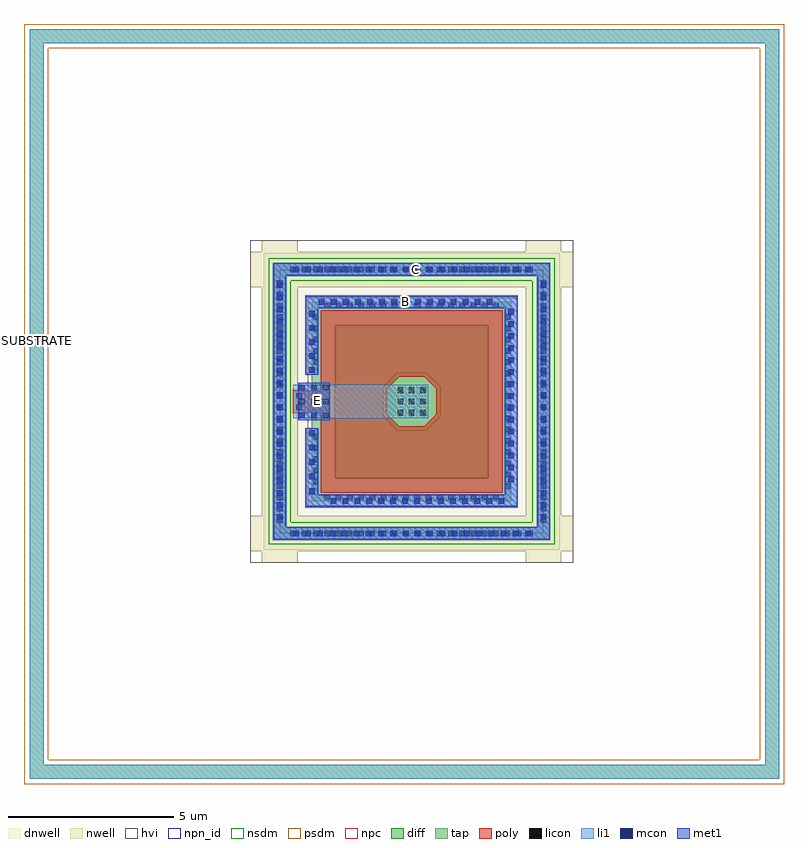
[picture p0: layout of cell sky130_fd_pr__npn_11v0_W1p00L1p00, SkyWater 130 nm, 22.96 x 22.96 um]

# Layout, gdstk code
import gdstk
lib = gdstk.Library(unit=1e-6, precision=1e-09)
def R(c, l, rs):  # rectangles x0, y0, x1, y1
    for r in rs: c.add(gdstk.rectangle(r[:2], r[2:], *l))
def A(c, l, x, y, w, h, nx, ny, dx, dy):  # array of equal rectangles
    R(c, l, [(x+i*dx, y+j*dy, x+i*dx+w, y+j*dy+h) for i in range(nx) for j in range(ny)])
def P(c, l, *ps):  # polygons
    for p in ps: c.add(gdstk.Polygon(p, *l))
dnwell = (64, 18)
nwell = (64, 20)
diff = (65, 20)
tap = (65, 44)
poly = (66, 20)
licon = (66, 44)
li1 = (67, 20)
mcon = (67, 44)
met1 = (68, 20)
hvi = (75, 20)
npn_id = (82, 20)
nsdm = (93, 44)
psdm = (94, 20)
npc = (95, 20)

sky130_fd_pr__npn_11v0_w = lib.new_cell('sky130_fd_pr__npn_11v0_W1p00L1p00')
R(sky130_fd_pr__npn_11v0_w, dnwell, [(0.4,0.4,9.35,9.35)])
R(sky130_fd_pr__npn_11v0_w, nwell, [(0.35,0,1.43,0.35), (8.32,0,9.4,0.35), (0,0.35,0.35,1.43), (9.4,0.35,9.75,1.43), (0,8.32,0.35,9.4), (9.4,8.32,9.75,9.4), (0.35,9.4,1.43,9.75), (8.32,9.4,9.4,9.75)])
R(sky130_fd_pr__npn_11v0_w, diff, [(2.56,2.56,7.19,7.185)])
R(sky130_fd_pr__npn_11v0_w, tap, [(1.86,1.86,7.19,2.56), (7.19,1.86,7.89,7.185), (1.86,2.56,2.56,7.185), (1.86,7.185,7.89,7.885)])
P(sky130_fd_pr__npn_11v0_w, tap, [(-6.666,-6.517),(-6.666,16.123),(15.554,16.123),(15.554,15.703),(-6.246,15.703),(-6.246,-6.097),(15.554,-6.097),(15.554,16.123),(15.974,16.123),(15.974,-6.517)])
R(sky130_fd_pr__npn_11v0_w, poly, [(1.475,4.535,2.125,5.205)])
P(sky130_fd_pr__npn_11v0_w, poly, [(2.125,2.125),(2.125,7.625),(5.625,7.625),(5.625,5.255),(5.255,5.625),(4.5,5.625),(4.125,5.25),(4.125,4.5),(4.5,4.125),(5.255,4.125),(5.625,4.495),(5.625,7.625),(7.625,7.625),(7.625,2.125)])
A(sky130_fd_pr__npn_11v0_w, licon, 1.215, 0.805, 0.17, 0.17, 20, 2, 0.34, 7.97)
A(sky130_fd_pr__npn_11v0_w, licon, 0.805, 1.215, 0.17, 0.17, 1, 20, 0, 0.34)
A(sky130_fd_pr__npn_11v0_w, licon, 8.775, 1.215, 0.17, 0.17, 1, 20, 0, 0.34)
A(sky130_fd_pr__npn_11v0_w, licon, 2.24, 1.9, 0.17, 0.17, 16, 2, 0.34, 5.78)
A(sky130_fd_pr__npn_11v0_w, licon, 7.68, 2.24, 0.17, 0.17, 1, 16, 0, 0.34)
A(sky130_fd_pr__npn_11v0_w, licon, 1.9, 2.365, 0.17, 0.17, 1, 5, 0, 0.34)
A(sky130_fd_pr__npn_11v0_w, licon, 4.45, 4.45, 0.17, 0.17, 3, 3, 0.34, 0.34)
A(sky130_fd_pr__npn_11v0_w, licon, 1.9, 5.98, 0.17, 0.17, 1, 5, 0, 0.34)
R(sky130_fd_pr__npn_11v0_w, licon, [(8.02,0.805,8.19,0.975), (8.365,0.805,8.535,0.975), (1.385,4.615,1.555,4.785), (1.385,4.955,1.555,5.125), (-6.535,6.665,-6.365,6.835), (0.805,8.02,0.975,8.19), (8.775,8.02,8.945,8.19), (0.805,8.365,0.975,8.535), (8.775,8.365,8.945,8.535), (8.02,8.775,8.19,8.945), (8.365,8.775,8.535,8.945)])
R(sky130_fd_pr__npn_11v0_w, li1, [(1.305,4.37,5.38,5.38), (4.37,4.37,5.38,5.38), (1.535,4.535,1.705,4.605), (1.535,5.135,1.705,5.205)])
P(sky130_fd_pr__npn_11v0_w, li1, [(-6.666,-6.517),(-6.666,16.123),(15.554,16.123),(15.554,15.703),(-6.246,15.703),(-6.246,-6.097),(15.554,-6.097),(15.554,16.123),(15.974,16.123),(15.974,-6.517)],
  [(1.66,1.67),(1.66,4.065),(2.07,4.065),(2.07,2.07),(7.68,2.07),(7.68,7.68),(2.06,7.68),(2.06,5.68),(1.66,5.68),(1.66,8.08),(8.08,8.08),(8.08,1.67)],
  [(0.74,0.74),(0.74,4.99),(1.04,4.99),(1.04,1.04),(8.71,1.04),(8.71,8.715),(1.04,8.715),(1.04,5.19),(0.74,5.19),(0.74,9.015),(9.01,9.015),(9.01,0.74)])
A(sky130_fd_pr__npn_11v0_w, mcon, 1.295, 0.805, 0.17, 0.17, 5, 2, 0.365, 7.97)
A(sky130_fd_pr__npn_11v0_w, mcon, 3.125, 0.805, 0.17, 0.17, 15, 2, 0.37, 7.97)
A(sky130_fd_pr__npn_11v0_w, mcon, 0.805, 1.295, 0.17, 0.17, 1, 4, 0, 0.365)
A(sky130_fd_pr__npn_11v0_w, mcon, 8.775, 1.295, 0.17, 0.17, 1, 4, 0, 0.365)
A(sky130_fd_pr__npn_11v0_w, mcon, 2.43, 1.785, 0.17, 0.17, 9, 1, 0.36, 0)
A(sky130_fd_pr__npn_11v0_w, mcon, 5.675, 1.785, 0.17, 0.17, 6, 1, 0.365, 0)
A(sky130_fd_pr__npn_11v0_w, mcon, 1.775, 2.08, 0.17, 0.17, 1, 4, 0, 0.44)
A(sky130_fd_pr__npn_11v0_w, mcon, 7.795, 2.44, 0.17, 0.17, 1, 11, 0, 0.36)
A(sky130_fd_pr__npn_11v0_w, mcon, 0.805, 2.76, 0.17, 0.17, 1, 16, 0, 0.37)
A(sky130_fd_pr__npn_11v0_w, mcon, 8.775, 2.76, 0.17, 0.17, 1, 16, 0, 0.37)
A(sky130_fd_pr__npn_11v0_w, mcon, 1.475, 4.37, 0.17, 0.17, 3, 3, 0.36, 0.42)
A(sky130_fd_pr__npn_11v0_w, mcon, 1.775, 5.74, 0.17, 0.17, 1, 5, 0, 0.425)
A(sky130_fd_pr__npn_11v0_w, mcon, 7.795, 6.405, 0.17, 0.17, 1, 4, 0, 0.365)
A(sky130_fd_pr__npn_11v0_w, mcon, 2.07, 7.795, 0.17, 0.17, 7, 1, 0.365, 0)
A(sky130_fd_pr__npn_11v0_w, mcon, 4.62, 7.795, 0.17, 0.17, 8, 1, 0.36, 0)
R(sky130_fd_pr__npn_11v0_w, mcon, [(1.775,3.835,1.945,4.005)])
R(sky130_fd_pr__npn_11v0_w, met1, [(0.71,5.05,1.07,5.13)])
R(sky130_fd_pr__npn_11v0_w, hvi, [(0,0,9.75,9.75)])
R(sky130_fd_pr__npn_11v0_w, npn_id, [(0.895,0.895,8.855,8.855)])
P(sky130_fd_pr__npn_11v0_w, nsdm, [(4.44,3.995),(3.995,4.44),(3.995,5.31),(4.44,5.755),(5.315,5.755),(5.755,5.315),(5.755,4.435),(5.315,3.995)])
P(sky130_fd_pr__npn_11v0_w, psdm, [(-6.836,-6.681),(-6.836,16.279),(15.384,16.279),(15.384,15.539),(-6.096,15.539),(-6.096,-5.941),(15.384,-5.941),(15.384,16.279),(16.124,16.279),(16.124,-6.681)],
  [(1.73,1.725),(1.73,8.015),(7.19,8.015),(7.19,7.185),(2.56,7.185),(2.56,2.56),(7.19,2.56),(7.19,8.015),(8.06,8.015),(8.06,1.725)])
sky130_fd_pr__npn_11v0_w.add(gdstk.FlexPath([(1.985,4.065),(1.985,1.985),(7.765,1.985),(7.765,7.765),(1.985,7.765),(1.985,5.68)], 0.17, ends="flush", simple_path=True, layer=65, datatype=44))  # tap
sky130_fd_pr__npn_11v0_w.add(gdstk.FlexPath([(0.89,1.84),(0.89,0.89),(8.86,0.89),(8.86,8.86),(0.89,8.86),(0.89,1.84)], 0.41, ends="flush", simple_path=True, layer=65, datatype=44))  # tap
sky130_fd_pr__npn_11v0_w.add(gdstk.FlexPath([(8.655,0.89),(1.095,0.89)], 0.17, ends="flush", simple_path=True, layer=65, datatype=44))  # tap
sky130_fd_pr__npn_11v0_w.add(gdstk.FlexPath([(8.655,8.86),(1.095,8.86)], 0.17, ends="flush", simple_path=True, layer=65, datatype=44))  # tap
sky130_fd_pr__npn_11v0_w.add(gdstk.FlexPath([(8.86,8.655),(8.86,1.095)], 0.17, ends="flush", simple_path=True, layer=65, datatype=44))  # tap
sky130_fd_pr__npn_11v0_w.add(gdstk.FlexPath([(0.89,8.655),(0.89,1.095)], 0.17, ends="flush", simple_path=True, layer=65, datatype=44))  # tap
sky130_fd_pr__npn_11v0_w.add(gdstk.FlexPath([(8.985,0.89),(0.765,0.89)], 0.83, ends="flush", simple_path=True, layer=75, datatype=20))  # hvi
sky130_fd_pr__npn_11v0_w.add(gdstk.FlexPath([(8.985,8.86),(0.765,8.86)], 0.83, ends="flush", simple_path=True, layer=75, datatype=20))  # hvi
sky130_fd_pr__npn_11v0_w.add(gdstk.FlexPath([(8.86,8.985),(8.86,0.765)], 0.83, ends="flush", simple_path=True, layer=75, datatype=20))  # hvi
sky130_fd_pr__npn_11v0_w.add(gdstk.FlexPath([(0.89,8.985),(0.89,0.765)], 0.83, ends="flush", simple_path=True, layer=75, datatype=20))  # hvi
sky130_fd_pr__npn_11v0_w.add(gdstk.FlexPath([(1.92,4.31),(1.92,5.44)], 0.95, ends="flush", simple_path=True, layer=68, datatype=20))  # met1
sky130_fd_pr__npn_11v0_w.add(gdstk.FlexPath([(0.89,5.13),(0.89,8.865),(8.86,8.865),(8.86,0.89),(0.89,0.89),(0.89,5.05)], 0.36, ends="flush", simple_path=True, layer=68, datatype=20))  # met1
sky130_fd_pr__npn_11v0_w.add(gdstk.FlexPath([(1.86,5.68),(1.86,7.88),(7.88,7.88),(7.88,1.87),(1.86,1.87),(1.86,4.065)], 0.36, ends="flush", simple_path=True, layer=68, datatype=20))  # met1
sky130_fd_pr__npn_11v0_w.add(gdstk.FlexPath([(1.47,5.205),(1.47,4.535)], 0.33, ends="flush", simple_path=True, layer=66, datatype=20))  # poly
sky130_fd_pr__npn_11v0_w.add(gdstk.FlexPath([(4.39,4.875),(5.36,4.875)], 0.93, ends="flush", simple_path=True, layer=65, datatype=20))  # diff
sky130_fd_pr__npn_11v0_w.add(gdstk.FlexPath([(1.985,4.065),(1.985,1.985),(7.765,1.985),(7.765,7.765),(1.985,7.765),(1.985,5.68)], 0.17, ends="flush", simple_path=True, layer=67, datatype=20))  # li1
sky130_fd_pr__npn_11v0_w.add(gdstk.FlexPath([(1.92,4.37),(1.92,5.38)], 0.89, ends="flush", simple_path=True, layer=67, datatype=20))  # li1
sky130_fd_pr__npn_11v0_w.add(gdstk.FlexPath([(8.655,8.86),(1.095,8.86)], 0.17, ends="flush", simple_path=True, layer=67, datatype=20))  # li1
sky130_fd_pr__npn_11v0_w.add(gdstk.FlexPath([(8.655,0.89),(1.095,0.89)], 0.17, ends="flush", simple_path=True, layer=67, datatype=20))  # li1
sky130_fd_pr__npn_11v0_w.add(gdstk.FlexPath([(4.39,4.875),(5.36,4.875)], 0.93, ends="flush", simple_path=True, layer=67, datatype=20))  # li1
sky130_fd_pr__npn_11v0_w.add(gdstk.FlexPath([(1.47,5.205),(1.47,4.535)], 0.17, ends="flush", simple_path=True, layer=67, datatype=20))  # li1
sky130_fd_pr__npn_11v0_w.add(gdstk.FlexPath([(0.89,1.84),(0.89,0.89),(8.86,0.89),(8.86,8.86),(0.89,8.86),(0.89,1.84)], 0.41, ends="flush", simple_path=True, layer=67, datatype=20))  # li1
sky130_fd_pr__npn_11v0_w.add(gdstk.FlexPath([(1.86,5.74),(1.86,7.88),(7.88,7.88),(7.88,1.87),(1.86,1.87),(1.86,4.005)], 0.3, ends="flush", simple_path=True, layer=67, datatype=20))  # li1
sky130_fd_pr__npn_11v0_w.add(gdstk.FlexPath([(0.89,8.655),(0.89,1.095)], 0.17, ends="flush", simple_path=True, layer=67, datatype=20))  # li1
sky130_fd_pr__npn_11v0_w.add(gdstk.FlexPath([(8.86,8.655),(8.86,1.095)], 0.17, ends="flush", simple_path=True, layer=67, datatype=20))  # li1
sky130_fd_pr__npn_11v0_w.add(gdstk.FlexPath([(1.985,4.065),(1.985,1.985),(7.765,1.985),(7.765,7.765),(1.985,7.765),(1.985,5.68)], 0.43, ends="flush", simple_path=True, layer=94, datatype=20))  # psdm
sky130_fd_pr__npn_11v0_w.add(gdstk.FlexPath([(8.785,8.86),(0.965,8.86)], 0.43, ends="flush", simple_path=True, layer=93, datatype=44))  # nsdm
sky130_fd_pr__npn_11v0_w.add(gdstk.FlexPath([(8.785,0.89),(0.965,0.89)], 0.43, ends="flush", simple_path=True, layer=93, datatype=44))  # nsdm
sky130_fd_pr__npn_11v0_w.add(gdstk.FlexPath([(4.26,4.875),(5.49,4.875)], 1.19, ends="flush", simple_path=True, layer=93, datatype=44))  # nsdm
sky130_fd_pr__npn_11v0_w.add(gdstk.FlexPath([(8.86,8.785),(8.86,0.965)], 0.43, ends="flush", simple_path=True, layer=93, datatype=44))  # nsdm
sky130_fd_pr__npn_11v0_w.add(gdstk.FlexPath([(0.89,1.84),(0.89,0.89),(8.86,0.89),(8.86,8.86),(0.89,8.86),(0.89,1.84)], 0.67, ends="flush", simple_path=True, layer=93, datatype=44))  # nsdm
sky130_fd_pr__npn_11v0_w.add(gdstk.FlexPath([(0.89,8.785),(0.89,0.965)], 0.43, ends="flush", simple_path=True, layer=93, datatype=44))  # nsdm
sky130_fd_pr__npn_11v0_w.add(gdstk.FlexPath([(8.985,0.89),(0.765,0.89)], 0.83, ends="flush", simple_path=True, layer=64, datatype=20))  # nwell
sky130_fd_pr__npn_11v0_w.add(gdstk.FlexPath([(8.985,8.86),(0.765,8.86)], 0.83, ends="flush", simple_path=True, layer=64, datatype=20))  # nwell
sky130_fd_pr__npn_11v0_w.add(gdstk.FlexPath([(8.86,8.985),(8.86,0.765)], 0.83, ends="flush", simple_path=True, layer=64, datatype=20))  # nwell
sky130_fd_pr__npn_11v0_w.add(gdstk.FlexPath([(0.89,1.84),(0.89,0.89),(8.86,0.89),(8.86,8.86),(0.89,8.86),(0.89,1.84)], 1.08, ends="flush", simple_path=True, layer=64, datatype=20))  # nwell
sky130_fd_pr__npn_11v0_w.add(gdstk.FlexPath([(0.89,8.985),(0.89,0.765)], 0.83, ends="flush", simple_path=True, layer=64, datatype=20))  # nwell
sky130_fd_pr__npn_11v0_w.add(gdstk.FlexPath([(1.47,5.225),(1.47,4.515)], 0.37, ends="flush", simple_path=True, layer=95, datatype=20))  # npc
sky130_fd_pr__npn_11v0_w.add(gdstk.Label('C', (4.995,8.86), layer=68, texttype=5))
sky130_fd_pr__npn_11v0_w.add(gdstk.Label('E', (2.02,4.905), layer=68, texttype=5))
sky130_fd_pr__npn_11v0_w.add(gdstk.Label('B', (4.7,7.91), layer=68, texttype=5))
sky130_fd_pr__npn_11v0_w.add(gdstk.Label('SUBSTRATE', (-6.467,6.728), layer=67, texttype=5))

lib.write_gds('sky130_fd_pr__npn_11v0_W1p00L1p00.gds')
